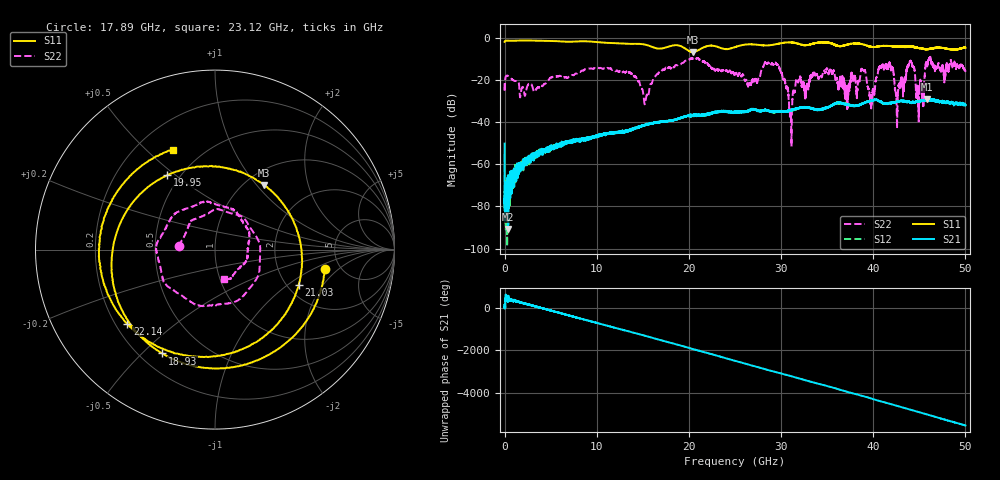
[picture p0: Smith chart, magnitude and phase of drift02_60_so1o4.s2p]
!Created with skrf (http://scikit-rf.org).
# Hz S RI R 50.0
!freq ReS11 ImS11 ReS21 ImS21 ReS12 ImS12 ReS22 ImS22
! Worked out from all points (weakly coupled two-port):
!   10001 points, 300 kHz to 50 GHz, reference 50 ohm
!   highest |S21| = -29.05 dB at 45.81 GHz (marker M1); lowest = -90.6 dB at 365.3 MHz (marker M2)
!   lowest |S11| = -6.9 dB at 20.45 GHz (marker M3), VSWR 2.64, Z = 61 + j54.7 ohm
!   |S11| at or under -10 dB: nowhere
!   |S22| runs from -51.6 to -9.1 dB; largest |S21 - S12| = 0.0031
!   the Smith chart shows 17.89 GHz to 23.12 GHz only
!   S11 on the Smith chart (normalised r, x): 17.89 GHz: 3.76, -1.36; 18.93 GHz: 0.29, -0.58; 19.95 GHz: 0.43, +0.47; 21.03 GHz: 2.30, -1.21; 22.14 GHz: 0.25, -0.35; 23.12 GHz: 0.35, +0.61
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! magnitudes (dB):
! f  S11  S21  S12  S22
! 300 kHz  -2.1  -50.2  -55.3  -21.6
! 365.3 MHz  -1.4  -90.6  -68.4  -18.1
! 8.335 GHz  -1.7  -48.7  -49.0  -15.7
! 15.33 GHz  -3.4  -41.2  -41.3  -29.1
! 16.67 GHz  -5.2  -40.2  -40.1  -17.0
! 17.89 GHz  -4.1  -39.5  -39.2  -13.9
! 18.93 GHz  -3.8  -38.3  -38.3  -12.5
! 19.95 GHz  -6.1  -37.0  -36.9  -10.1
! 20.45 GHz  -6.9  -36.9  -37.0  -10.0
! 21.03 GHz  -5.9  -36.9  -36.6  -9.9
! 22.14 GHz  -3.9  -36.1  -36.2  -13.1
! 23.12 GHz  -4.4  -35.1  -35.1  -15.3
! 25 GHz  -4.5  -35.1  -35.3  -17.5
! 29.51 GHz  -3.1  -34.8  -34.9  -12.5
! 31.03 GHz  -2.3  -34.5  -34.5  -35.3
! 33.34 GHz  -3.0  -33.5  -33.5  -18.1
! 38.92 GHz  -3.2  -31.0  -31.1  -16.1
! 39.86 GHz  -4.4  -29.8  -29.9  -28.7
! 41.67 GHz  -3.9  -31.2  -31.1  -13.1
! 42.57 GHz  -4.3  -30.3  -30.2  -40.6
! 45.81 GHz  -5.5  -29.0  -29.3  -12.5
! 50 GHz  -4.8  -32.0  -32.2  -15.7
